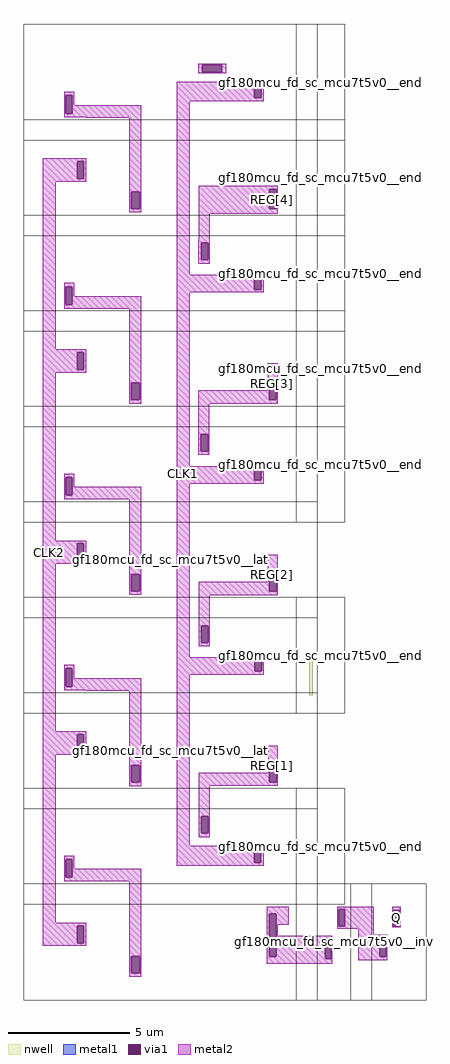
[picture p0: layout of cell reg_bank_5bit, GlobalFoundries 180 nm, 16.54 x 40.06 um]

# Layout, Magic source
magic
tech gf180mcuD
magscale 1 10
<< nwell >>
rect 2649 -5814 2678 -5519
rect 2802 -7048 2852 -7028
<< metal1 >>
rect 703 -1040 710 -890
<< via1 >>
rect 1770 -700 1930 -640
rect 650 -1040 703 -890
rect 2200 -910 2255 -809
rect 744 -1574 800 -1430
rect 1190 -1820 1260 -1680
rect 2321 -1821 2381 -1661
rect 1761 -2241 1821 -2101
rect 650 -2610 703 -2460
rect 2200 -2486 2255 -2385
rect 744 -3143 800 -2999
rect 1190 -3390 1260 -3250
rect 2320 -3390 2380 -3230
rect 1760 -3810 1820 -3670
rect 650 -4174 703 -4024
rect 2200 -4050 2255 -3949
rect 744 -4711 800 -4567
rect 1190 -4960 1260 -4820
rect 2321 -4962 2381 -4802
rect 1761 -5382 1821 -5242
rect 650 -5744 703 -5594
rect 2201 -5619 2260 -5521
rect 744 -6280 800 -6136
rect 1190 -6530 1260 -6390
rect 2321 -6530 2381 -6369
rect 1761 -6949 1821 -6809
rect 650 -7310 703 -7160
rect 2200 -7190 2253 -7070
rect 744 -7850 800 -7706
rect 1190 -8096 1260 -7956
rect 2320 -7960 2380 -7610
rect 2890 -7710 2942 -7570
rect 3340 -7710 3392 -7580
rect 2780 -7977 2832 -7810
rect 3227 -7960 3279 -7820
<< metal2 >>
rect 1740 -640 1970 -630
rect 1740 -700 1770 -640
rect 1930 -700 1970 -640
rect 1740 -710 1970 -700
rect 1560 -809 2275 -780
rect 640 -890 720 -860
rect 640 -1040 650 -890
rect 703 -970 720 -890
rect 1560 -910 2200 -809
rect 2255 -910 2275 -809
rect 1560 -940 2275 -910
rect 703 -1040 1270 -970
rect 640 -1070 1270 -1040
rect 820 -1072 1270 -1070
rect 460 -1430 820 -1407
rect 460 -1574 744 -1430
rect 800 -1574 820 -1430
rect 460 -1598 820 -1574
rect 460 -2975 570 -1598
rect 1170 -1680 1270 -1072
rect 1170 -1820 1190 -1680
rect 1260 -1820 1270 -1680
rect 1170 -1850 1270 -1820
rect 1560 -2363 1670 -940
rect 1741 -1661 2393 -1630
rect 1741 -1821 2321 -1661
rect 2381 -1821 2393 -1661
rect 1741 -1860 2393 -1821
rect 1741 -2070 1831 -1860
rect 2301 -1861 2393 -1860
rect 1740 -2101 1831 -2070
rect 1740 -2241 1761 -2101
rect 1821 -2241 1831 -2101
rect 1740 -2270 1831 -2241
rect 1741 -2271 1831 -2270
rect 1560 -2385 2276 -2363
rect 640 -2460 720 -2430
rect 640 -2610 650 -2460
rect 703 -2540 720 -2460
rect 1560 -2486 2200 -2385
rect 2255 -2486 2276 -2385
rect 1560 -2508 2276 -2486
rect 703 -2610 1270 -2540
rect 640 -2640 1270 -2610
rect 820 -2642 1270 -2640
rect 460 -2999 820 -2975
rect 460 -3143 744 -2999
rect 800 -3143 820 -2999
rect 460 -3166 820 -3143
rect 460 -4544 570 -3166
rect 1170 -3250 1270 -2642
rect 1170 -3390 1190 -3250
rect 1260 -3390 1270 -3250
rect 1170 -3420 1270 -3390
rect 1560 -3935 1670 -2508
rect 2310 -3230 2390 -3090
rect 2310 -3310 2320 -3230
rect 1740 -3390 2320 -3310
rect 2380 -3390 2390 -3230
rect 1740 -3420 2390 -3390
rect 1740 -3670 1830 -3420
rect 1740 -3810 1760 -3670
rect 1820 -3810 1830 -3670
rect 1740 -3840 1830 -3810
rect 1560 -3949 2276 -3935
rect 640 -4024 720 -3994
rect 640 -4174 650 -4024
rect 703 -4104 720 -4024
rect 1560 -4050 2200 -3949
rect 2255 -4050 2276 -3949
rect 1560 -4080 2276 -4050
rect 703 -4174 1270 -4104
rect 640 -4204 1270 -4174
rect 820 -4206 1270 -4204
rect 460 -4567 820 -4544
rect 460 -4711 744 -4567
rect 800 -4711 820 -4567
rect 460 -4735 820 -4711
rect 460 -6111 570 -4735
rect 1170 -4820 1270 -4206
rect 1170 -4960 1190 -4820
rect 1260 -4960 1270 -4820
rect 1170 -4990 1270 -4960
rect 1560 -5501 1670 -4080
rect 2310 -4802 2391 -4660
rect 2310 -4810 2321 -4802
rect 2311 -4882 2321 -4810
rect 1741 -4962 2321 -4882
rect 2381 -4962 2391 -4802
rect 1741 -4992 2391 -4962
rect 1741 -5242 1831 -4992
rect 1741 -5382 1761 -5242
rect 1821 -5382 1831 -5242
rect 1741 -5412 1831 -5382
rect 1560 -5521 2276 -5501
rect 640 -5594 720 -5564
rect 640 -5744 650 -5594
rect 703 -5674 720 -5594
rect 1560 -5619 2201 -5521
rect 2260 -5619 2276 -5521
rect 1560 -5646 2276 -5619
rect 703 -5744 1270 -5674
rect 640 -5774 1270 -5744
rect 820 -5776 1270 -5774
rect 460 -6136 820 -6111
rect 460 -6280 744 -6136
rect 800 -6280 820 -6136
rect 460 -6302 820 -6280
rect 460 -7680 570 -6302
rect 1170 -6390 1270 -5776
rect 1170 -6530 1190 -6390
rect 1260 -6530 1270 -6390
rect 1170 -6560 1270 -6530
rect 1560 -7049 1670 -5646
rect 2311 -6369 2391 -6229
rect 2311 -6449 2321 -6369
rect 1741 -6530 2321 -6449
rect 2381 -6530 2391 -6369
rect 1741 -6559 2391 -6530
rect 1741 -6809 1831 -6559
rect 1741 -6949 1761 -6809
rect 1821 -6949 1831 -6809
rect 1741 -6979 1831 -6949
rect 1560 -7070 2276 -7049
rect 640 -7160 720 -7130
rect 640 -7310 650 -7160
rect 703 -7240 720 -7160
rect 1560 -7190 2200 -7070
rect 2253 -7190 2276 -7070
rect 1560 -7213 2276 -7190
rect 703 -7310 1270 -7240
rect 640 -7340 1270 -7310
rect 820 -7342 1270 -7340
rect 460 -7706 820 -7680
rect 460 -7850 744 -7706
rect 800 -7850 820 -7706
rect 460 -7871 820 -7850
rect 1170 -7956 1270 -7342
rect 1170 -8096 1190 -7956
rect 1260 -8096 1270 -7956
rect 2300 -7610 2480 -7550
rect 2300 -7960 2320 -7610
rect 2380 -7700 2480 -7610
rect 2880 -7570 3180 -7550
rect 2380 -7790 2390 -7700
rect 2880 -7710 2890 -7570
rect 2942 -7710 3180 -7570
rect 2880 -7730 3180 -7710
rect 3330 -7580 3400 -7550
rect 3330 -7710 3340 -7580
rect 3392 -7710 3400 -7580
rect 3330 -7720 3400 -7710
rect 3050 -7780 3180 -7730
rect 2380 -7810 2840 -7790
rect 2380 -7960 2780 -7810
rect 2300 -7977 2780 -7960
rect 2832 -7977 2840 -7810
rect 2300 -8020 2840 -7977
rect 3050 -7820 3290 -7780
rect 3050 -7960 3227 -7820
rect 3279 -7960 3290 -7820
rect 3050 -7990 3290 -7960
rect 1170 -8126 1270 -8096
use gf180mcu_fd_sc_mcu7t5v0__endcap  gf180mcu_fd_sc_mcu7t5v0__endcap_0 pdks/gf180mcuD/libs.ref/gf180mcu_fd_sc_mcu7t5v0/mag
transform -1 0 2854 0 -1 -390
box -86 -86 310 870
use gf180mcu_fd_sc_mcu7t5v0__endcap  gf180mcu_fd_sc_mcu7t5v0__endcap_1
transform 1 0 2630 0 1 -1958
box -86 -86 310 870
use gf180mcu_fd_sc_mcu7t5v0__endcap  gf180mcu_fd_sc_mcu7t5v0__endcap_2
transform 1 0 2630 0 1 -3526
box -86 -86 310 870
use gf180mcu_fd_sc_mcu7t5v0__endcap  gf180mcu_fd_sc_mcu7t5v0__endcap_3
transform -1 0 2854 0 -1 -1958
box -86 -86 310 870
use gf180mcu_fd_sc_mcu7t5v0__endcap  gf180mcu_fd_sc_mcu7t5v0__endcap_4
transform -1 0 2854 0 -1 -3526
box -86 -86 310 870
use gf180mcu_fd_sc_mcu7t5v0__endcap  gf180mcu_fd_sc_mcu7t5v0__endcap_5
transform -1 0 2854 0 -1 -5094
box -86 -86 310 870
use gf180mcu_fd_sc_mcu7t5v0__endcap  gf180mcu_fd_sc_mcu7t5v0__endcap_6
transform -1 0 2854 0 -1 -6662
box -86 -86 310 870
use gf180mcu_fd_sc_mcu7t5v0__inv_1  gf180mcu_fd_sc_mcu7t5v0__inv_1_0 pdks/gf180mcuD/libs.ref/gf180mcu_fd_sc_mcu7t5v0/mag
transform 1 0 2630 0 1 -8230
box -86 -86 534 870
use gf180mcu_fd_sc_mcu7t5v0__inv_1  gf180mcu_fd_sc_mcu7t5v0__inv_1_1
transform 1 0 3078 0 1 -8230
box -86 -86 534 870
use gf180mcu_fd_sc_mcu7t5v0__latq_1  gf180mcu_fd_sc_mcu7t5v0__latq_1_0 pdks/gf180mcuD/libs.ref/gf180mcu_fd_sc_mcu7t5v0/mag
transform 1 0 390 0 1 -3526
box -86 -86 2326 870
use gf180mcu_fd_sc_mcu7t5v0__latq_1  gf180mcu_fd_sc_mcu7t5v0__latq_1_1
transform -1 0 2630 0 -1 -3526
box -86 -86 2326 870
use gf180mcu_fd_sc_mcu7t5v0__latq_1  gf180mcu_fd_sc_mcu7t5v0__latq_1_2
transform -1 0 2630 0 -1 -1958
box -86 -86 2326 870
use gf180mcu_fd_sc_mcu7t5v0__latq_1  gf180mcu_fd_sc_mcu7t5v0__latq_1_3
transform 1 0 390 0 1 -1958
box -86 -86 2326 870
use gf180mcu_fd_sc_mcu7t5v0__latq_1  gf180mcu_fd_sc_mcu7t5v0__latq_1_4
transform -1 0 2630 0 -1 -390
box -86 -86 2326 870
use gf180mcu_fd_sc_mcu7t5v0__latq_1  gf180mcu_fd_sc_mcu7t5v0__latq_1_5
transform 1 0 390 0 1 -6662
box -86 -86 2326 870
use gf180mcu_fd_sc_mcu7t5v0__latq_1  gf180mcu_fd_sc_mcu7t5v0__latq_1_6
transform -1 0 2630 0 -1 -6662
box -86 -86 2326 870
use gf180mcu_fd_sc_mcu7t5v0__latq_1  gf180mcu_fd_sc_mcu7t5v0__latq_1_7
transform -1 0 2630 0 -1 -5094
box -86 -86 2326 870
use gf180mcu_fd_sc_mcu7t5v0__latq_1  gf180mcu_fd_sc_mcu7t5v0__latq_1_8
transform 1 0 390 0 1 -5094
box -86 -86 2326 870
use gf180mcu_fd_sc_mcu7t5v0__latq_1  gf180mcu_fd_sc_mcu7t5v0__latq_1_9
transform 1 0 390 0 1 -8230
box -86 -86 2326 870
<< labels >>
flabel metal2 s 2310 -3420 2390 -3090 0 FreeSans 480 0 0 0 REG[3]
port 1 nsew
flabel metal2 s 2310 -4990 2390 -4660 0 FreeSans 480 0 0 0 REG[2]
port 2 nsew
flabel metal2 s 2310 -6560 2390 -6230 0 FreeSans 480 0 0 0 REG[1]
port 3 nsew
flabel metal2 s 2300 -8020 2390 -7550 0 FreeSans 480 0 0 0 REG[0]
port 4 nsew
flabel metal2 s 1740 -710 1970 -630 0 FreeSans 480 0 0 0 D
port 5 nsew
flabel metal2 s 3330 -7720 3400 -7550 0 FreeSans 480 0 0 0 Q
port 6 nsew
flabel metal2 s 2301 -1861 2393 -1630 0 FreeSans 480 0 0 0 REG[4]
port 0 nsew
flabel metal2 s 460 -7871 570 -1407 0 FreeSans 480 0 0 0 CLK2
port 7 nsew
flabel metal2 s 1560 -7213 1670 -780 0 FreeSans 480 0 0 0 CLK1
port 8 nsew
<< end >>
